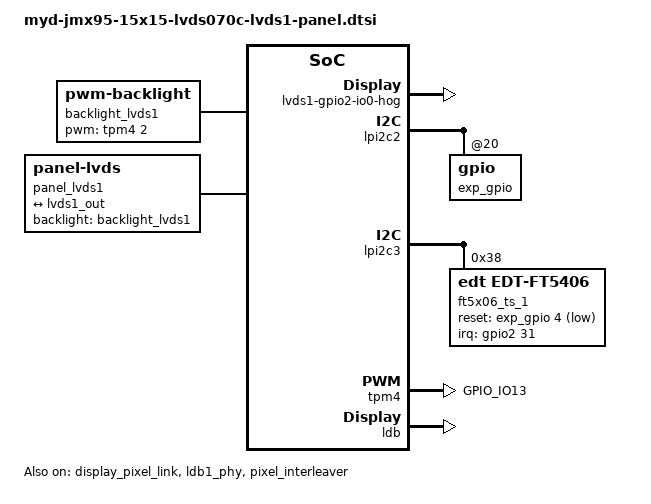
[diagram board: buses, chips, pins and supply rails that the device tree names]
// SPDX-License-Identifier: GPL-2.0+
/*
 * Copyright 2026 MYIR
 */

/ {
	backlight_lvds1: backlight-lvds1 {
		compatible = "pwm-backlight";
		pwms = <&tpm4 2 4000000 0>;
		brightness-levels = <0 45 63 88 119 158 203 255>;
		default-brightness-level = <6>;
	};

	panel_lvds1: panel-lvds1 {
		compatible = "panel-lvds";
		backlight = <&backlight_lvds1>;
		width-mm = <154>;
		height-mm = <85>;
		data-mapping = "vesa-24";
		panel-timing {
			clock-frequency = <50000000>;
			hactive = <1024>;
			hfront-porch = <88>;
			hsync-len = <6>;
			hback-porch = <176>;
			vactive = <600>;
			vfront-porch = <25>;
			vsync-len = <5>;
			vback-porch = <20>;
		};

		port {
			panel_lvds1_in: endpoint {
				remote-endpoint = <&lvds1_out>;
			};
		};
	};
};

&gpio2 {
	lvds1-gpio2-io0-hog {
		gpio-hog;
		gpios = <0 GPIO_ACTIVE_HIGH>;
		output-low;
		status = "okay";
	};
};

&lpi2c2 {
	status = "okay";

	exp_gpio: gpio@20 {
		lvds1-eio-p12-hog {
			gpio-hog;
			gpios = <10 GPIO_ACTIVE_HIGH>;
			output-low;
			status = "okay";
		};
	};
};


&lpi2c3 {
	status = "okay";

	ft5x06_ts_1: touchscreen_1@38 {
		compatible = "edt,edt-ft5406";
		reg = <0x38>;
		pinctrl-names = "default";
		pinctrl-0 = <&pinctrl_lvds1_touch>;
		interrupt-parent = <&gpio2>;
		interrupts = <31 IRQ_TYPE_EDGE_FALLING>;
		reset-gpios = <&exp_gpio 4 GPIO_ACTIVE_LOW>;
		touchscreen-size-x = <1024>;
		touchscreen-size-y = <600>;
		status = "okay";
	};
};

&tpm4 {
	pinctrl-names = "default";
	pinctrl-0 = <&pinctrl_tpm4>;
	status = "okay";
};

&display_pixel_link {
	status = "okay";
};

&ldb {
	#address-cells = <1>;
	#size-cells = <0>;
	assigned-clocks = <&scmi_clk IMX95_CLK_LDBPLL_VCO>,
			  <&scmi_clk IMX95_CLK_LDBPLL>;
	assigned-clock-rates = <2982000000>, <497000000>;
	status = "okay";

	channel@1 {
		#address-cells = <1>;
		#size-cells = <0>;
		reg = <1>;
		status = "okay";

		port@1 {
			reg = <1>;

			lvds1_out: endpoint {
				remote-endpoint = <&panel_lvds1_in>;
			};
		};
	};
};

&ldb1_phy {
	status = "okay";
};

&pixel_interleaver {
	#address-cells = <1>;
	#size-cells = <0>;
	status = "okay";

	channel@1 {
		reg = <1>;
		status = "okay";
	};
};

&scmi_iomuxc {
	pinctrl-names = "default";
	pinctrl-0 = <&pinctrl_hog>;
	pinctrl_hog: hoggrp {
		fsl,pins = <
			IMX95_PAD_GPIO_IO00__GPIO2_IO_BIT0    0x31e
		>;
	};

	pinctrl_tpm4: tpm4grp {
		fsl,pins = <
			IMX95_PAD_GPIO_IO13__TPM4_CH2    0x51e
		>;
	};

	pinctrl_lvds1_touch: lvds1_touch_grp {
		fsl,pins = <
			IMX95_PAD_GPIO_IO31__GPIO2_IO_BIT31    0x31e
		>;
	};
};
